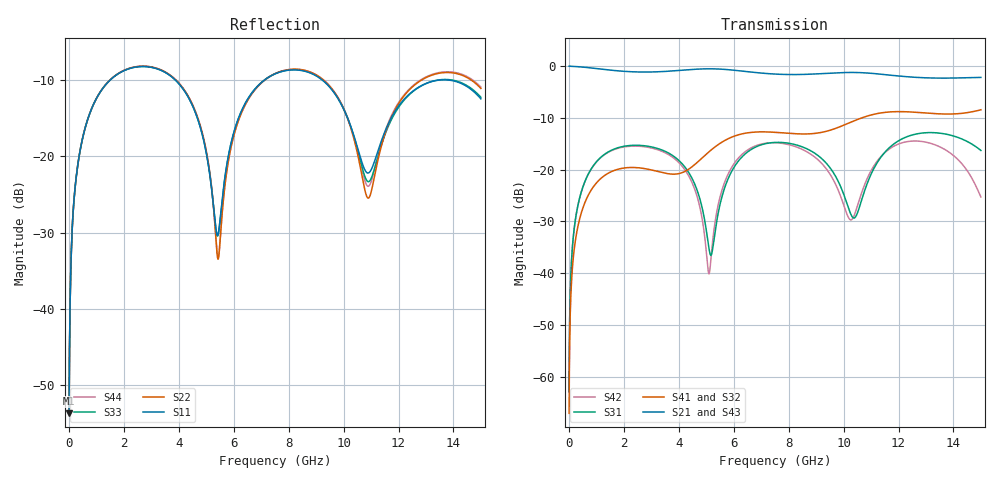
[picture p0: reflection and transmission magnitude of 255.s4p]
! Created with skrf 1.8.0 (http://scikit-rf.org).
# GHz S RI R 50.0
!freq ReS11 ImS11 ReS12 ImS12 ReS13 ImS13
! ReS14 ImS14
! ReS21 ImS21 ReS22 ImS22 ReS23 ImS23
! ReS24 ImS24
! ReS31 ImS31 ReS32 ImS32 ReS33 ImS33
! ReS34 ImS34
! ReS41 ImS41 ReS42 ImS42 ReS43 ImS43
! ReS44 ImS44
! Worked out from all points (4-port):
!   2499 points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, 5 MHz to 15 GHz, reference 50 ohm
!   strongest paths, dB at 5 MHz, 3.476 GHz, 7.19 GHz, 11.1 GHz, 15 GHz:
!     S21: 0.0, -1.0, -1.4, -1.4, -2.2
!     S43: 0.0, -1.0, -1.4, -1.4, -2.2
!     S41: -67.1, -20.7, -12.7, -9.3, -8.4
!     S32: -67.1, -20.7, -12.7, -9.3, -8.4
!     S31: -63.0, -16.4, -15.0, -19.8, -16.3
!     S42: -63.0, -16.7, -14.9, -19.3, -25.3
!   lowest |S11| = -53.7 dB at 5 MHz (marker M1), VSWR 1.00, Z = 50.2 + j0.125 ohm
!   |S11| at or under -10 dB: start of sweep to 1.507 GHz; 3.865 GHz to 7.133 GHz (3.268 GHz wide, 59.4 % of centre); 9.213 GHz to end of sweep
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0.005  0.00165 0.00125  0.9983 -0.00322  8.47e-05 0.000703  -8.2e-05 -0.000433
       0.9983 -0.00322  0.00165 0.00125  -8.2e-05 -0.000433  8.46e-05 0.000703
       8.47e-05 0.000703  -8.2e-05 -0.000433  0.00165 0.00125  0.9983 -0.00322
       -8.2e-05 -0.000433  8.46e-05 0.000703  0.9983 -0.00322  0.00165 0.00125
0.3626511  0.0306 0.0934  0.9577 -0.2299  0.0158 0.0474  -0.0128 -0.0286
           0.9577 -0.2299  0.0307 0.0934  -0.0127 -0.0286  0.0153 0.0475
           0.0158 0.0474  -0.0127 -0.0286  0.0306 0.0934  0.9577 -0.2299
           -0.0128 -0.0286  0.0153 0.0475  0.9577 -0.2299  0.0307 0.0934
1.619545  0.2823 0.1696  0.5158 -0.7471  0.1455 0.0586  -0.0974 0.000146
          0.5158 -0.7471  0.2841 0.1683  -0.0974 5.51e-05  0.1406 0.0658
          0.1455 0.0586  -0.0974 5.51e-05  0.2823 0.1696  0.5158 -0.7472
          -0.0974 0.000146  0.1406 0.0658  0.5158 -0.7472  0.2841 0.1683
5.302209  0.0314 -0.0247  -0.9292 -0.1429  -0.0116 0.02  -0.0202 0.1631
          -0.9292 -0.1429  0.0224 -0.0306  -0.0215 0.1629  0.0123 0.0262
          -0.0116 0.02  -0.0215 0.1629  0.0311 -0.0253  -0.9291 -0.1428
          -0.0202 0.1631  0.0123 0.0262  -0.9291 -0.1428  0.0229 -0.0311
8.466028  0.362 -0.0369  0.0125 0.83  0.1343 -0.099  0.2103 -0.0676
          0.0125 0.83  0.3655 -0.0442  0.21 -0.0644  0.1345 -0.0828
          0.1343 -0.099  0.21 -0.0644  0.3633 -0.0406  0.0132 0.8295
          0.2103 -0.0676  0.1345 -0.0828  0.0132 0.8295  0.3663 -0.0414
11.19842  0.0906 0.0448  0.843 -0.0163  0.0453 0.1041  -0.0277 -0.3454
          0.843 -0.0163  0.0669 0.053  -0.0209 -0.3471  0.0291 0.1146
          0.0453 0.1041  -0.0209 -0.3471  0.0804 0.0449  0.843 -0.0178
          -0.0277 -0.3454  0.0291 0.1146  0.843 -0.0178  0.0776 0.0503
15  0.2203 -0.0884  -0.381 -0.6776  -0.0421 -0.1473  -0.3191 0.2028
    -0.381 -0.6776  0.2422 -0.1359  -0.3233 0.197  -0.0124 -0.0529
    -0.0421 -0.1473  -0.3233 0.197  0.2279 -0.085  -0.3827 -0.6746
    -0.3191 0.2028  -0.0124 -0.0529  -0.3827 -0.6746  0.242 -0.1473
